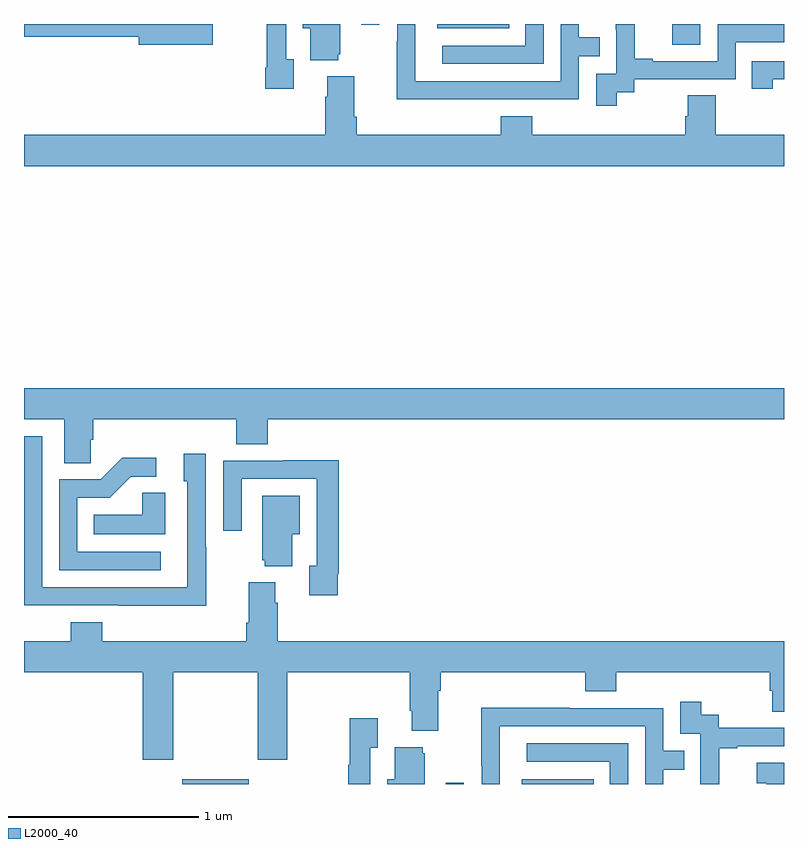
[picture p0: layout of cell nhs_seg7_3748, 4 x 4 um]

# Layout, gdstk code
import gdstk
lib = gdstk.Library(unit=1e-6, precision=1e-09)
def R(c, l, rs):  # rectangles x0, y0, x1, y1
    for r in rs: c.add(gdstk.rectangle(r[:2], r[2:], *l))
def P(c, l, *ps):  # polygons
    for p in ps: c.add(gdstk.Polygon(p, *l))
L2000_40 = (2000, 40)

nhs_seg7_3748 = lib.new_cell('nhs_seg7_3748')
R(nhs_seg7_3748, L2000_40, [(349.832,1028,350.182,1028.026), (351.219,1028,351.315,1028.007), (351.62,1028,351.998,1028.026), (352.413,1031.892,352.56,1032), (351.176,1031.978,351.554,1032), (350.775,1031.997,350.871,1032)])
P(nhs_seg7_3748, L2000_40, [(350.654,1031.841),(350.665,1031.841),(350.665,1032),(350.468,1032),(350.468,1031.978),(350.507,1031.978),(350.507,1031.81),(350.654,1031.81)],
  [(350.419,1031.814),(350.379,1031.814),(350.379,1032),(350.278,1032),(350.278,1031.77),(350.271,1031.77),(350.271,1031.658),(350.419,1031.658)],
  [(349.993,1032),(349,1032),(349,1031.932),(349.604,1031.932),(349.604,1031.89),(349.993,1031.89)],
  [(351.425,1031.604),(351.921,1031.604),(351.921,1031.829),(352.031,1031.829),(352.031,1031.93),(351.921,1031.93),(351.921,1032),(351.825,1032),(351.825,1031.7),(351.06,1031.7),(351.06,1032),(350.964,1032),(350.964,1031.909),(350.962,1031.909),(350.962,1031.603),(351.425,1031.603)],
  [(352.12,1031.641),(352.212,1031.641),(352.212,1031.709),(352.746,1031.709),(352.746,1031.904),(353,1031.904),(353,1032),(352.65,1032),(352.65,1031.805),(352.309,1031.805),(352.309,1031.818),(352.214,1031.818),(352.214,1032),(352.115,1032),(352.115,1031.969),(352.116,1031.969),(352.116,1031.739),(352.011,1031.739),(352.011,1031.571),(352.12,1031.571)],
  [(351.735,1032),(351.639,1032),(351.639,1031.886),(351.201,1031.886),(351.201,1031.79),(351.735,1031.79)],
  [(352.942,1031.709),(353,1031.709),(353,1031.805),(352.831,1031.805),(352.831,1031.658),(352.942,1031.658)],
  [(353,1031.416),(352.641,1031.416),(352.641,1031.624),(352.493,1031.624),(352.493,1031.514),(352.481,1031.514),(352.481,1031.416),(351.674,1031.416),(351.674,1031.515),(351.509,1031.515),(351.509,1031.416),(350.75,1031.416),(350.75,1031.512),(350.737,1031.512),(350.737,1031.725),(350.597,1031.725),(350.597,1031.618),(350.585,1031.618),(350.585,1031.416),(349,1031.416),(349,1031.252),(353,1031.252)],
  [(349,1029.92),(349.211,1029.92),(349.211,1029.688),(349.35,1029.688),(349.35,1029.811),(349.364,1029.811),(349.364,1029.92),(350.117,1029.92),(350.117,1029.787),(350.282,1029.787),(350.282,1029.92),(353,1029.92),(353,1030.084),(349,1030.084)],
  [(349.959,1029.245),(349.956,1029.245),(349.956,1029.739),(349.841,1029.739),(349.841,1029.594),(349.86,1029.594),(349.86,1029.036),(349.095,1029.036),(349.095,1029.831),(349,1029.831),(349,1028.94),(349.495,1028.94),(349.495,1028.939),(349.959,1028.939)],
  [(349.72,1029.222),(349.281,1029.222),(349.281,1029.507),(349.45,1029.507),(349.561,1029.618),(349.696,1029.618),(349.696,1029.716),(349.517,1029.716),(349.404,1029.603),(349.185,1029.603),(349.185,1029.126),(349.72,1029.126)],
  [(350.65,1029.106),(350.657,1029.106),(350.657,1029.704),(350.365,1029.704),(350.365,1029.702),(350.049,1029.702),(350.049,1029.333),(350.145,1029.333),(350.145,1029.606),(350.541,1029.606),(350.541,1029.15),(350.501,1029.15),(350.501,1028.994),(350.65,1028.994)],
  [(349.744,1029.533),(349.623,1029.533),(349.623,1029.418),(349.366,1029.418),(349.366,1029.314),(349.744,1029.314)],
  [(350.413,1029.314),(350.452,1029.314),(350.452,1029.517),(350.255,1029.517),(350.255,1029.177),(350.267,1029.177),(350.267,1029.146),(350.413,1029.146)],
  [(349.412,1028.851),(349.247,1028.851),(349.247,1028.752),(349,1028.752),(349,1028.588),(349.625,1028.588),(349.625,1028.127),(349.785,1028.127),(349.785,1028.588),(350.23,1028.588),(350.23,1028.127),(350.385,1028.127),(350.385,1028.588),(351.029,1028.588),(351.029,1028.386),(351.041,1028.386),(351.041,1028.279),(351.181,1028.279),(351.181,1028.492),(351.194,1028.492),(351.194,1028.588),(351.953,1028.588),(351.953,1028.489),(352.118,1028.489),(352.118,1028.588),(352.925,1028.588),(352.925,1028.49),(352.937,1028.49),(352.937,1028.38),(353,1028.38),(353,1028.752),(350.336,1028.752),(350.336,1028.954),(350.323,1028.954),(350.323,1029.061),(350.183,1029.061),(350.183,1028.848),(350.171,1028.848),(350.171,1028.752),(349.412,1028.752)],
  [(352.658,1028.187),(352.753,1028.187),(352.753,1028.199),(353,1028.199),(353,1028.295),(352.656,1028.295),(352.656,1028.364),(352.564,1028.364),(352.564,1028.434),(352.455,1028.434),(352.455,1028.265),(352.56,1028.265),(352.56,1028.036),(352.559,1028.036),(352.559,1028),(352.658,1028)],
  [(351.504,1028.304),(352.269,1028.304),(352.269,1028),(352.365,1028),(352.365,1028.074),(352.475,1028.074),(352.475,1028.175),(352.365,1028.175),(352.365,1028.4),(351.869,1028.4),(351.869,1028.402),(351.406,1028.402),(351.406,1028.095),(351.408,1028.095),(351.408,1028),(351.504,1028)],
  [(350.823,1028.191),(350.863,1028.191),(350.863,1028.347),(350.715,1028.347),(350.715,1028.102),(350.707,1028.102),(350.707,1028),(350.823,1028)],
  [(352.179,1028.214),(351.645,1028.214),(351.645,1028.118),(352.083,1028.118),(352.083,1028),(352.179,1028)],
  [(351.109,1028.163),(351.098,1028.163),(351.098,1028.194),(350.951,1028.194),(350.951,1028.026),(350.912,1028.026),(350.912,1028),(351.109,1028)],
  [(353,1028.113),(352.857,1028.113),(352.857,1028.003),(352.906,1028.003),(352.906,1028),(353,1028)])

lib.write_gds('nhs_seg7_3748.gds')
